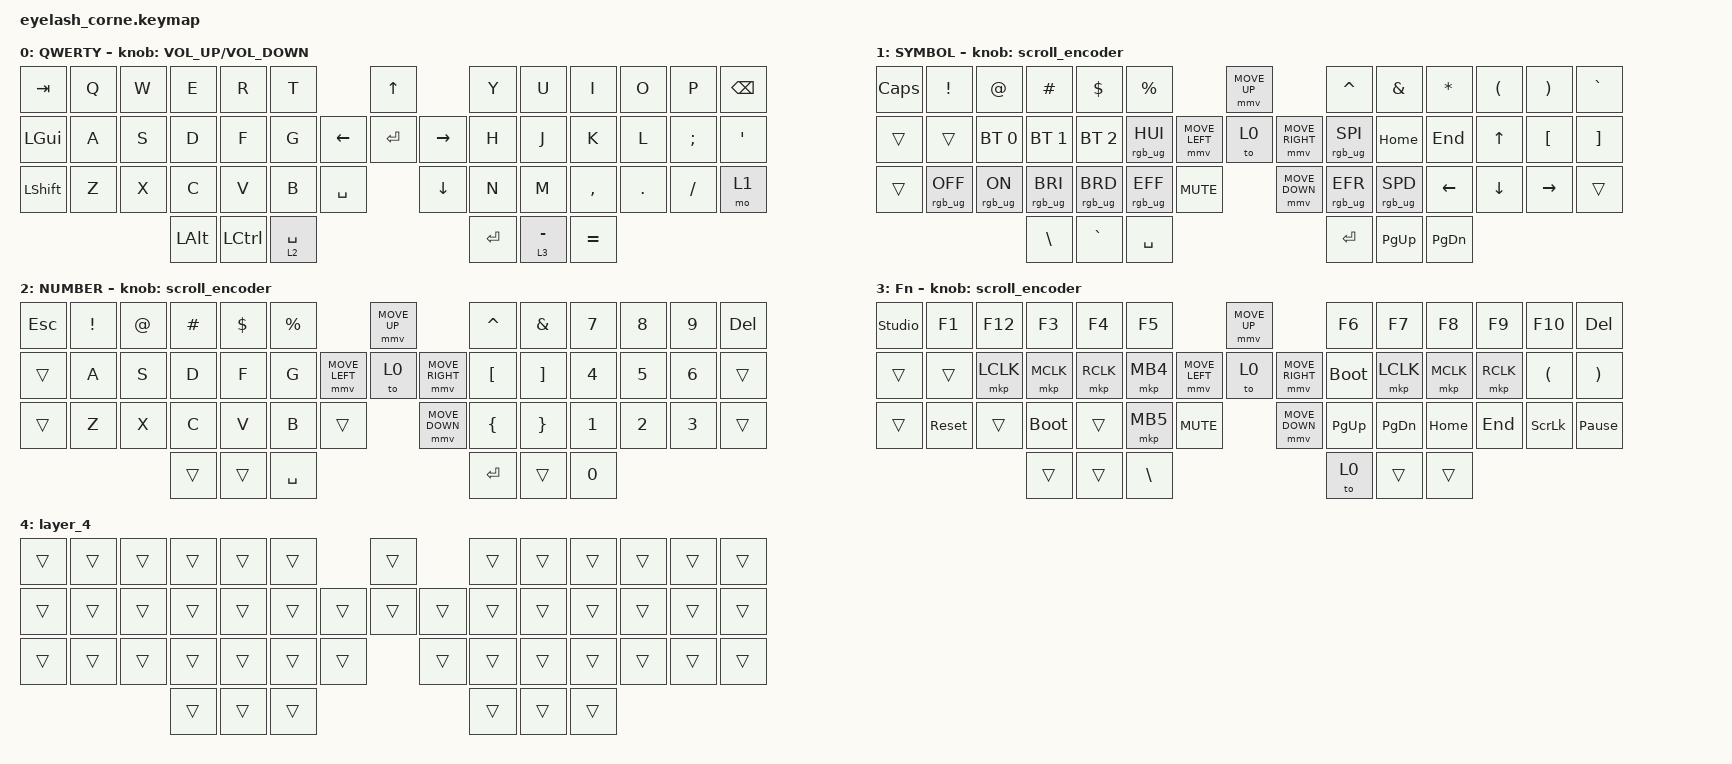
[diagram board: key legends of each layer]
#define ZMK_POINTING_DEFAULT_MOVE_VAL 1200  // 600
#define ZMK_POINTING_DEFAULT_SCRL_VAL 25   // 10

#include <input/processors.dtsi>
#include <zephyr/dt-bindings/input/input-event-codes.h>
#include <behaviors.dtsi>
#include <dt-bindings/zmk/bt.h>
#include <dt-bindings/zmk/keys.h>
#include <dt-bindings/zmk/pointing.h>
#include <dt-bindings/zmk/rgb.h>

&mmv_input_listener { input-processors = <&zip_xy_scaler 2 1>; };

&msc_input_listener { input-processors = <&zip_scroll_scaler 2 1>; };

&msc {
    acceleration-exponent = <1>;      // 0
    time-to-max-speed-ms = <100>;       // 300
    delay-ms = <0>;                   // 0
};

&mmv {
    time-to-max-speed-ms = <500>;
    acceleration-exponent = <1>;
    trigger-period-ms = <16>;
};

/ {
    behaviors {
        td0: td0 {
            compatible = "zmk,behavior-tap-dance";
            display-name = "Shift/Caps Lock Tap Dance";
            #binding-cells = <0>;
            bindings = <&kp LEFT_SHIFT>, <&kp CAPS>;
        };
    };

    rgb_encoder: rgb_encoder {
        compatible = "zmk,behavior-sensor-rotate";
        #sensor-binding-cells = <0>;
        bindings = <&rgb_ug RGB_BRI>, <&rgb_ug RGB_BRD>;
    };

    scroll_encoder: scroll_encoder {
        compatible = "zmk,behavior-sensor-rotate";
        #sensor-binding-cells = <0>;
        bindings = <&msc SCRL_DOWN>, <&msc SCRL_UP>;

        tap-ms = <100>;
    };

    keymap {
        compatible = "zmk,keymap";

        default_layer {
            display-name = "QWERTY";
            bindings = <
&kp TAB         &kp Q  &kp W  &kp E         &kp R             &kp T                               &kp UP                &kp Y      &kp U        &kp I      &kp O    &kp P     &kp BSPC
&kp LGUI        &kp A  &kp S  &kp D         &kp F             &kp G                     &kp LEFT  &kp ENTER  &kp RIGHT  &kp H      &kp J        &kp K      &kp L    &kp SEMI  &kp SQT
&kp LEFT_SHIFT  &kp Z  &kp X  &kp C         &kp V             &kp B        &kp SPACE              &kp DOWN              &kp N      &kp M        &kp COMMA  &kp DOT  &kp FSLH  &mo 1
                              &kp LEFT_ALT  &kp LEFT_CONTROL  &lt 2 SPACE                                               &kp ENTER  &lt 3 MINUS  &kp EQUAL
            >;

            sensor-bindings = <&inc_dec_kp C_VOLUME_UP C_VOLUME_DOWN>;
        };

        lower_layer {
            display-name = "SYMBOL";
            bindings = <
&kp CAPS  &kp EXCLAMATION  &kp AT_SIGN     &kp HASH         &kp DOLLAR       &kp PERCENT                                    &mmv MOVE_UP                     &kp CARET        &kp AMPERSAND    &kp ASTERISK  &kp LEFT_PARENTHESIS  &kp RIGHT_PARENTHESIS  &kp GRAVE
&trans    &trans           &bt BT_SEL 0    &bt BT_SEL 1     &bt BT_SEL 2     &rgb_ug RGB_HUI                &mmv MOVE_LEFT  &to 0           &mmv MOVE_RIGHT  &rgb_ug RGB_SPI  &kp HOME         &kp END       &kp UP                &kp LEFT_BRACKET       &kp RIGHT_BRACKET
&trans    &rgb_ug RGB_OFF  &rgb_ug RGB_ON  &rgb_ug RGB_BRI  &rgb_ug RGB_BRD  &rgb_ug RGB_EFF  &kp C_MUTE                    &mmv MOVE_DOWN                   &rgb_ug RGB_EFR  &rgb_ug RGB_SPD  &kp LEFT      &kp DOWN              &kp RIGHT_ARROW        &trans
                                           &kp BACKSLASH    &kp GRAVE        &kp SPACE                                                                       &kp ENTER        &kp PG_UP        &kp PG_DN
            >;

            sensor-bindings = <&scroll_encoder>;
        };

        raise_layer {
            display-name = "NUMBER";
            bindings = <
&kp ESC  &kp EXCL  &kp AT  &kp HASH  &kp DLLR  &kp PRCNT                            &mmv MOVE_UP                     &kp CARET         &kp AMPS           &kp N7        &kp N8        &kp N9        &kp DEL
&trans   &kp A     &kp S   &kp D     &kp F     &kp G                &mmv MOVE_LEFT  &to 0           &mmv MOVE_RIGHT  &kp LEFT_BRACKET  &kp RIGHT_BRACKET  &kp NUMBER_4  &kp N5        &kp NUMBER_6  &trans
&trans   &kp Z     &kp X   &kp C     &kp V     &kp B      &trans                    &mmv MOVE_DOWN                   &kp LEFT_BRACE    &kp RIGHT_BRACE    &kp NUMBER_1  &kp NUMBER_2  &kp NUMBER_3  &trans
                           &trans    &trans    &kp SPACE                                                             &kp ENTER         &trans             &kp N0
            >;

            sensor-bindings = <&scroll_encoder>;
        };

        layer_3 {
            display-name = "Fn";
            bindings = <
&studio_unlock  &kp F1      &kp F12    &kp F3       &kp F4     &kp F5                                  &mmv MOVE_UP                     &kp F6       &kp F7         &kp F8     &kp F9     &kp F10               &kp DEL
&trans          &trans      &mkp LCLK  &mkp MCLK    &mkp RCLK  &mkp MB4                &mmv MOVE_LEFT  &to 0           &mmv MOVE_RIGHT  &bootloader  &mkp LCLK      &mkp MCLK  &mkp RCLK  &kp LEFT_PARENTHESIS  &kp RIGHT_PARENTHESIS
&trans          &sys_reset  &trans     &bootloader  &trans     &mkp MB5  &kp C_MUTE                    &mmv MOVE_DOWN                   &kp PG_UP    &kp PAGE_DOWN  &kp HOME   &kp END    &kp SCROLLLOCK        &kp PAUSE_BREAK
                                       &trans       &trans     &kp BSLH                                                                 &to 0        &trans         &trans
            >;

            sensor-bindings = <&scroll_encoder>;
        };

        layer_4 {
            bindings = <
&trans  &trans  &trans  &trans  &trans  &trans                    &trans          &trans  &trans  &trans  &trans  &trans  &trans
&trans  &trans  &trans  &trans  &trans  &trans            &trans  &trans  &trans  &trans  &trans  &trans  &trans  &trans  &trans
&trans  &trans  &trans  &trans  &trans  &trans  &trans            &trans          &trans  &trans  &trans  &trans  &trans  &trans
                        &trans  &trans  &trans                                    &trans  &trans  &trans
            >;
        };
    };
};
